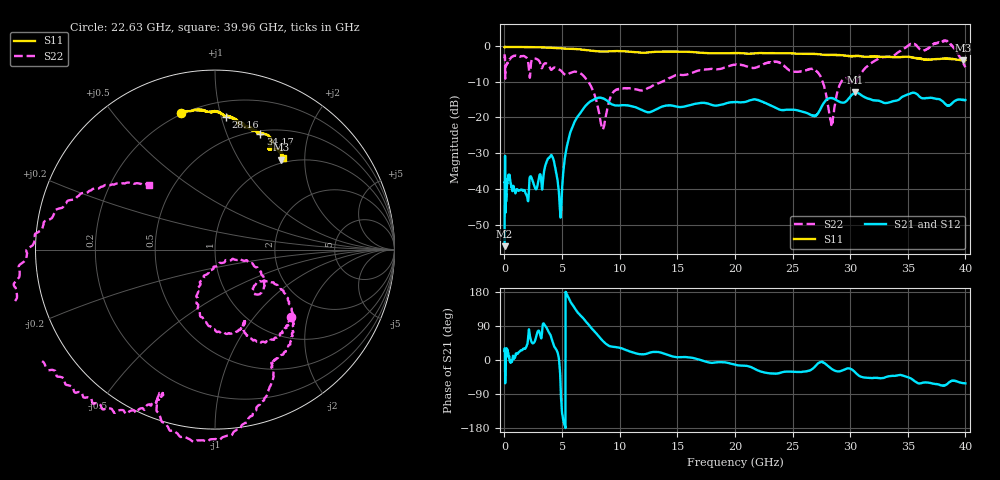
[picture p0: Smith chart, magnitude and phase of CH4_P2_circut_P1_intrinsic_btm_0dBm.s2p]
!Keysight Technologies,N5222B,MY61257109,A.17.25.03
!Date: Tuesday, July 21, 2026 19:51:57
!Correction: S11(C  2-Port  )
!S21(C  2-Port  )
!S12(C  2-Port  )
!S22(C  2-Port  )
!S2P File: Measurements: S11, S21, S12, S22:
# Hz S  dB  R 50
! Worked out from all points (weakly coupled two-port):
!   4000 points, 10 MHz to 40 GHz, reference 50 ohm
!   highest |S21| = -13.04 dB at 30.44 GHz (marker M1); lowest = -56.0 dB at 10 MHz (marker M2)
!   lowest |S11| = -4.1 dB at 39.82 GHz (marker M3), VSWR 4.30, Z = 47.1 + j77.2 ohm
!   |S11| at or under -10 dB: nowhere
!   |S22| runs from -23.4 to 1.5 dB; largest |S21 - S12| = 0.0033
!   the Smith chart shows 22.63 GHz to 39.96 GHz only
!   S11 on the Smith chart (normalised r, x): 22.63 GHz: 0.19, +0.76; 28.16 GHz: 0.31, +1.04; 34.17 GHz: 0.53, +1.33; 39.96 GHz: 0.92, +1.58
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1e7  -0.39 -179.7  -56.00 23.9  -56.68 34.5  -2.40 -51.2
5.9e8  -0.33 177.3  -39.29 -5.9  -39.25 -5.6  -3.27 165.7
1.73e9  -0.36 172.1  -40.36 30.2  -40.36 30.2  -2.93 101.2
4.03e9  -0.58 161.6  -30.61 62.4  -30.59 62.5  -6.70 35.3
4.86e9  -0.74 158.2  -48.02 -66.6  -47.20 -58.0  -6.83 19.4
5.55e9  -0.85 155.5  -26.12 165.4  -26.08 164.4  -7.88 16.8
6.68e9  -1.08 150.5  -18.37 114.9  -18.36 114.9  -7.92 -11.5
8.52e9  -1.65 146.3  -14.67 50.8  -14.67 50.8  -23.26 -0.7
9.6e9  -1.50 143.8  -16.69 34.2  -16.68 34.2  -12.48 27.4
1.334e10  -1.68 133.5  -17.52 20.9  -17.52 20.8  -10.53 16.3
2.001e10  -2.05 112.0  -15.75 -12.1  -15.73 -11.6  -5.27 -26.4
2.263e10  -2.07 104.1  -15.98 -33.6  -15.99 -33.2  -4.92 -41.5
2.667e10  -2.25 90.1  -19.41 -24.5  -19.47 -25.0  -6.44 -79.4
2.816e10  -2.59 85.2  -14.68 -18.1  -14.66 -17.9  -18.43 -104.8
3.044e10  -2.83 78.8  -13.04 -32.7  -13.10 -32.9  -10.37 -37.2
3.334e10  -3.08 70.9  -15.86 -43.1  -15.83 -43.2  -3.09 -62.5
3.417e10  -3.19 68.5  -15.19 -40.2  -15.15 -40.2  -1.82 -67.3
3.723e10  -3.80 61.5  -14.67 -62.8  -14.65 -62.7  0.42 -121.2
3.838e10  -3.64 57.8  -16.64 -64.6  -16.48 -64.3  1.26 -162.7
3.982e10  -4.12 53.7  -15.14 -61.0  -15.08 -60.8  -4.94 139.2
3.996e10  -3.95 53.4  -15.24 -61.5  -15.19 -61.6  -5.77 135.6
4e10  -4.03 54.1  -15.14 -61.8  -15.09 -62.0  -6.01 135.1
